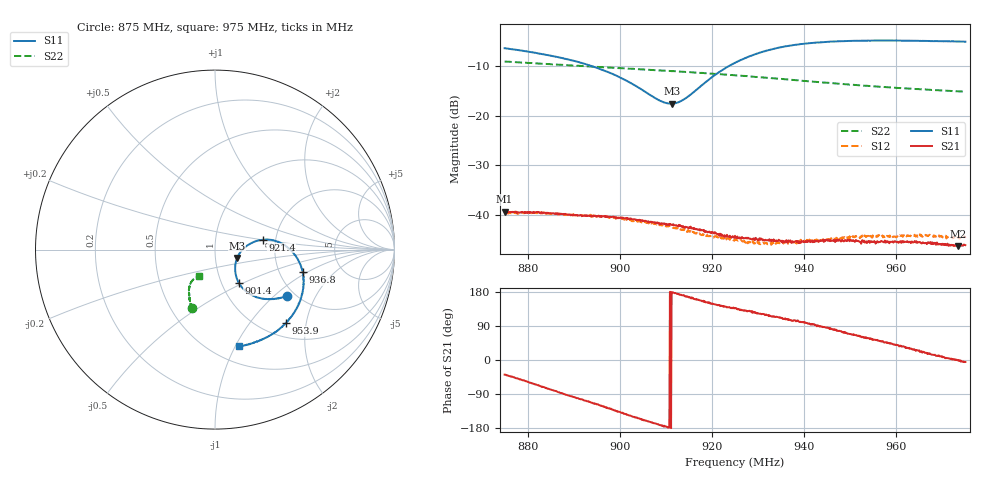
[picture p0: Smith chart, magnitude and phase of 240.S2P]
! C:\Users\rflab\Downloads\Lab5_KD_ZW\Q3\240.S2P
! Touchstone 1.1 file saved by VNA.EXE V1.65 (www.ke5fx.com/gpib/readme.htm)
! 11/18/2024 10:35:08 PM
!  Source: HEWLETT PACKARD,8753D,0,6.14
!  Min freq: 8.750000E+008 Hz
!  Max freq: 9.750200E+008 Hz
!  Points: 801
!  Params: S11 S21 S12 S22
# GHZ S MA R 50
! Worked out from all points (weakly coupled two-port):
!   801 points, 875 MHz to 975 MHz, reference 50 ohm
!   highest |S21| = -39.32 dB at 875 MHz (marker M1); lowest = -46.3 dB at 973.5 MHz (marker M2)
!   lowest |S11| = -17.6 dB at 911.3 MHz (marker M3), VSWR 1.30, Z = 63.7 - j6.07 ohm
!   |S11| at or under -10 dB: 893.8 MHz to 923.8 MHz (29.93 MHz wide, 3.29 % of centre)
!   |S22| runs from -15.2 to -9.1 dB; largest |S21 - S12| = 0.0021
!   S11 on the Smith chart (normalised r, x): 875 MHz: 1.82, -1.21; 901.4 MHz: 1.20, -0.47; 921.4 MHz: 1.71, +0.20; 936.8 MHz: 2.68, -0.91; 953.9 MHz: 1.28, -1.54; 975 MHz: 0.66, -1.04
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0.875  0.4764 -32.7  0.01081 -38.6  0.01039 -27.6  0.35 -111.5
0.8842518  0.4074 -42.7  0.01053 -75.4  0.01036 -65.6  0.3307 -114.4
0.8917534  0.3383 -50.0  0.0097 -103.8  0.009948 -96.6  0.3159 -116.3
0.8970044  0.2794 -53.7  0.009681 -125.7  0.009725 -119.0  0.3059 -117.7
0.9013803  0.2257 -54.5  0.009331 -142.5  0.008994 -137.9  0.2979 -118.7
0.9083817  0.1436 -38.4  0.008308 -169.7  0.008086 -164.4  0.2861 -120.6
0.909882  0.1343 -29.8  0.007997 -175.1  0.007757 -170.3  0.283 -120.6
0.9112573  0.1315 -20.9  0.00797 178.8  0.007593 -175.4  0.2801 -121.0
0.9125075  0.1354 -12.2  0.007759 175.0  0.007339 -179.3  0.2782 -121.5
0.9141328  0.1477 -2.6  0.0074 168.2  0.007023 175.1  0.2752 -121.8
0.9181336  0.2082 10.4  0.006951 156.4  0.006255 160.0  0.2681 -122.7
0.9213843  0.2705 11.8  0.006434 145.5  0.005939 154.2  0.2612 -123.5
0.92501  0.3406 8.2  0.006168 137.5  0.005695 144.5  0.2549 -124.3
0.9308862  0.4372 -2.5  0.005694 121.4  0.005127 132.7  0.243 -125.4
0.9367623  0.5042 -14.5  0.005457 106.2  0.005375 120.8  0.2304 -126.0
0.9417633  0.5381 -24.5  0.005477 93.4  0.005563 106.5  0.2204 -126.2
0.9473895  0.559 -34.9  0.005481 76.8  0.005888 90.0  0.2097 -125.9
0.9538908  0.5689 -45.8  0.005443 57.9  0.006164 70.1  0.199 -125.4
0.9583917  0.5707 -52.7  0.005351 45.3  0.006027 54.2  0.1924 -124.9
0.9668934  0.5638 -65.0  0.005305 18.0  0.006109 25.5  0.1825 -123.3
0.9735197  0.5571 -74.0  0.004845 -2.1  0.005834 1.5  0.1754 -122.1
0.97502  0.555 -76.1  0.004966 -5.3  0.005852 -0.9  0.1738 -121.8
